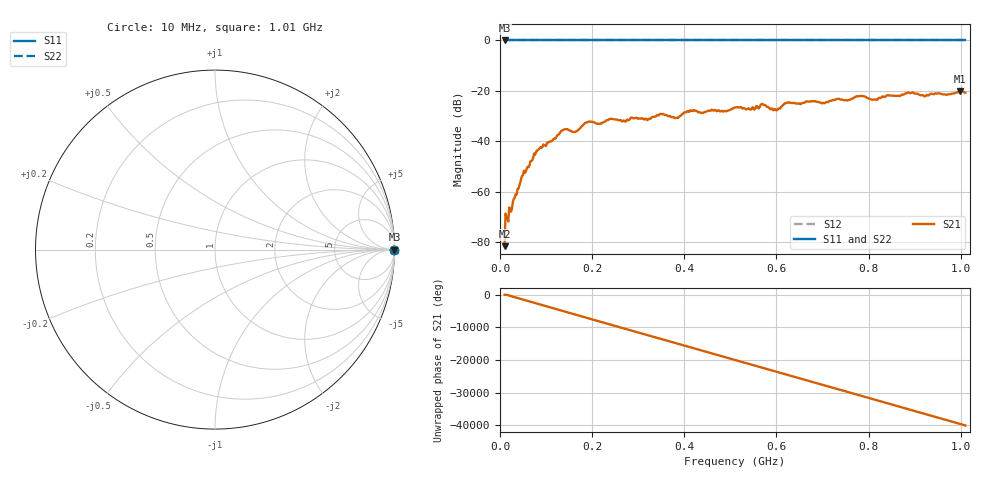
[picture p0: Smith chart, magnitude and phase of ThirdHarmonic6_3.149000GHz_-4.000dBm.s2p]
! 8/17/2025 9:25:17 AM
! C:\ANRITSUVNA\TEMP\TEMP.S2P
! CHANNEL.1
! TR.MEASUREMENT
! RAW.DATA
! RF.CORRECTION.OFF
! AVERAGING.OFF
! IF.BANDWIDTH: 5KHZ
! SWEEPTYPE:  FREQ.SWEEP(Linear)
! Reference Plane Port Info
! PORT:  PORT1  PORT2
! DISTANCE:  0  m  0  m
! TIME:  0  s  0  s
! PHASE.OFFSET:  0  deg.  0  deg.
! LOSS:  0  dB  0  dB
! REF.LOSS:  0  dB  0  dB
! REF.FREQ:  0  Hz  0  Hz
! Power Info
! POWER:  -20  dBm  -20  dBm
! EFF.POWER:  -20  dBm  -20  dBm
! SOURCE.ATTEN:  0  dB  0  dB
! TEST.ATTEN:  0  dB  0  dB
# GHZ S RI R 50.0
! FREQ.GHZ  S11RE  S11IM  S21RE  S21IM  S12RE  S12IM  S22RE  S22IM
!; PortSelection: Port_12
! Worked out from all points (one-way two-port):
!   501 points, 10 MHz to 1.01 GHz, reference 50 ohm
!   highest |S21| = -19.98 dB at 998 MHz (marker M1); lowest = -81.5 dB at 10 MHz (marker M2)
!   lowest |S11| = 0.0 dB at 10 MHz (marker M3)
!   |S11| at or under -10 dB: nowhere
!   |S22| runs from 0.0 to 0.0 dB; largest |S21 - S12| = 1.1
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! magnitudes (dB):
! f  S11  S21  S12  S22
! 10 MHz  0.0  -81.5  0.0  0.0
! 16 MHz  0.0  -70.2  0.0  0.0
! 22 MHz  0.0  -66.7  0.0  0.0
! 48 MHz  0.0  -53.6  0.0  0.0
! 78 MHz  0.0  -44.4  0.0  0.0
! 136 MHz  0.0  -35.6  0.0  0.0
! 162 MHz  0.0  -36.2  0.0  0.0
! 178 MHz  0.0  -33.9  0.0  0.0
! 194 MHz  0.0  -32.1  0.0  0.0
! 322 MHz  0.0  -31.2  0.0  0.0
! 344 MHz  0.0  -29.7  0.0  0.0
! 382 MHz  0.0  -30.7  0.0  0.0
! 416 MHz  0.0  -27.9  0.0  0.0
! 510 MHz  0.0  -26.6  0.0  0.0
! 570 MHz  0.0  -25.2  0.0  0.0
! 598 MHz  0.0  -27.3  0.0  0.0
! 624 MHz  0.0  -24.5  0.0  0.0
! 678 MHz  0.0  -24.0  0.0  0.0
! 814 MHz  0.0  -23.4  0.0  0.0
! 844 MHz  0.0  -21.8  0.0  0.0
! 998 MHz  0.0  -20.0  0.0  0.0
! 1.01 GHz  0.0  -20.7  0.0  0.0
